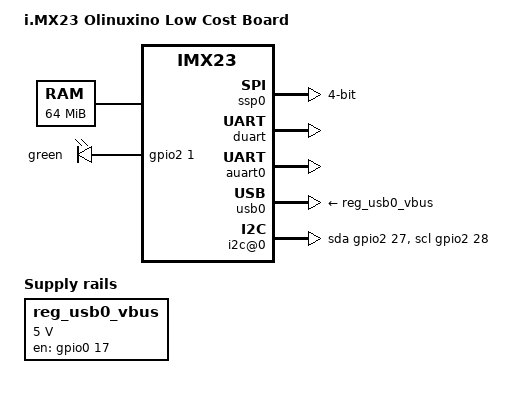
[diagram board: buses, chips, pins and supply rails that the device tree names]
/*
 * Copyright 2012 Freescale Semiconductor, Inc.
 *
 * Author: Fabio Estevam <fabio.estevam@freescale.com>
 *
 * The code contained herein is licensed under the GNU General Public
 * License. You may obtain a copy of the GNU General Public License
 * Version 2 or later at the following locations:
 *
 * http://www.opensource.org/licenses/gpl-license.html
 * http://www.gnu.org/copyleft/gpl.html
 */

/dts-v1/;
/include/ "imx23.dtsi"

/ {
	model = "i.MX23 Olinuxino Low Cost Board";
	compatible = "olimex,imx23-olinuxino", "fsl,imx23";

	memory {
		reg = <0x40000000 0x04000000>;
	};

	apb@80000000 {
		apbh@80000000 {
			ssp1: ssp@80034000 {
				compatible = "fsl,imx23-spi";
				clock-frequency = <160000000>;
				bus-num = <0>;
				pinctrl-names = "default";
				pinctrl-0 = <&spi1_control_pins &spi1_cs_pins>;
				status = "disabled";

				#address-cells = <1>;
				#size-cells = <0>;

				device@0 {
					compatible = "spidev";
					reg = <0>;
					spi-max-frequency = <16000000>;
					interrupts = <&gpio2 28>;
					interrupt-names = "spidev-trigger";
				};
			};
			pinctrl@80018000 {
				spi1_control_pins: spi1_control_pins {
					reg = <0>;
					fsl,pinmux-ids = <
						0x0182 // MX23_PAD_GPMI_WRN__SSP2_SCK
						0x0142 // MX23_PAD_GPMI_RDY1__SSP2_CMD aka MOSI
						0x0002 // MX23_PAD_GPMI_D00__SSP2_DATA0 aka MISO
					>;
				};
				spi1_cs_pins: spi1_cs_pins {
					reg = <0>;
					fsl,pinmux-ids = <
						0x1033  // MX23_PAD_LCD_D03__GPIO_1_3 
						// This is optional, this allows the spidev
						// driver to have an interrupt pin, this is
						// "Bank 2 pin 28" and it needs a pullup
						//
						0x21c3 // MX23_PAD_GPMI_CE0N__GPIO_2_28
					>;
					fsl,pull-up = <1>;
				};
			};
			lcdif@80030000 {
				pinctrl-names = "default";
				pinctrl-0 = <&lcdif_16bit_pins_a>;
				/*   panel-enable-gpios = <&gpio1 18 0>; */
				status = "disabled";
			};

			ssp0: ssp@80010000 {
				compatible = "fsl,imx23-mmc";
				pinctrl-names = "default";
				pinctrl-0 = <&mmc0_4bit_pins_a &mmc0_pins_fixup>;
				bus-width = <4>;
				status = "okay";
			};

			pinctrl@80018000 {
				pinctrl-names = "default";
				pinctrl-0 = <&hog_pins_a>;

				hog_pins_a: hog@0 {
					reg = <0>;
					fsl,pinmux-ids = <
						0x2013 /* MX23_PAD_SSP1_DETECT__GPIO_2_1 */
					//	0x0113 /* MX23_PAD_GPMI_ALE__GPIO_0_17 */
					>;
					fsl,drive-strength = <0>;
					fsl,voltage = <1>;
					fsl,pull-up = <0>;
				};
			};
		};

		apbx@80040000 {
			duart: serial@80070000 {
				pinctrl-names = "default";
				pinctrl-0 = <&duart_pins_a>;
				status = "okay";
			};

			auart0: serial@8006c000 {
				pinctrl-names = "default";
				pinctrl-0 = <&auart0_2pins_a>;
				status = "okay";
			};

			usbphy0: usbphy@8007c000 {
				status = "okay";
			};
		};
	};

	ahb@80080000 {
		usb0: usb@80080000 {
			vbus-supply = <&reg_usb0_vbus>;
			status = "okay";
		};
	};

	regulators {
		compatible = "simple-bus";

		reg_usb0_vbus: usb0_vbus {
			compatible = "regulator-fixed";
			regulator-name = "usb0_vbus";
			regulator-min-microvolt = <5000000>;
			regulator-max-microvolt = <5000000>;
			enable-active-high;
			startup-delay-us = <300>; /* LAN9215 requires a POR of 200us minimum */
			gpio = <&gpio0 17 0>;
		};
	};

	/*
	 * maxi declares the i2c by default as software -- so instanciate a linux driver
	 * for it
	 */
	i2c@0 {
		compatible = "i2c-gpio";
		gpios = <&gpio2 27 0 /* sda */
			 &gpio2 28 0 /* scl */
			>;
		i2c-gpio,delay-us = <2>;	/* ~100 kHz */
	};

	leds {
		compatible = "gpio-leds";

		user {
			label = "green";
			gpios = <&gpio2 1 0>;
			linux,default-trigger = "default-on";
		};
	};
};
